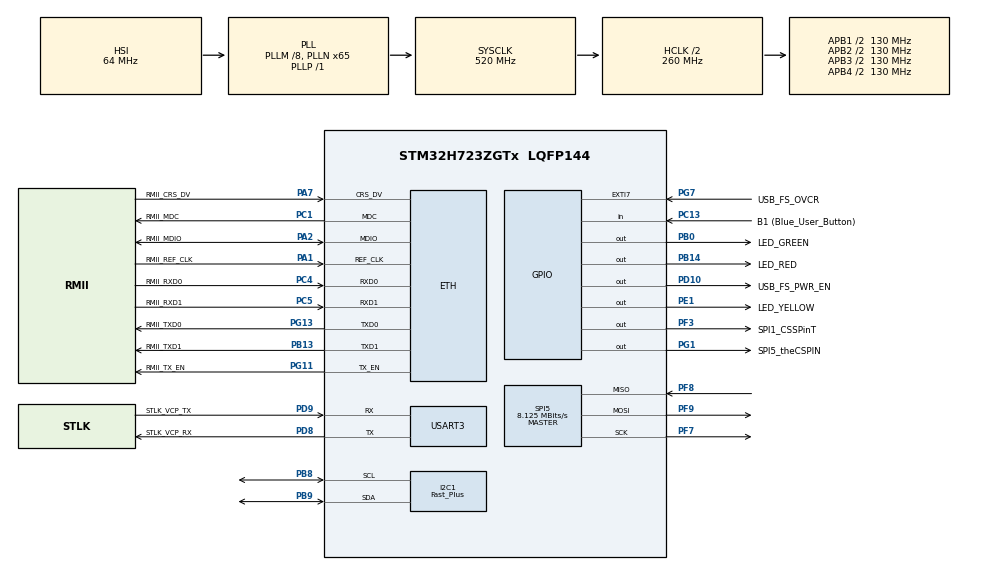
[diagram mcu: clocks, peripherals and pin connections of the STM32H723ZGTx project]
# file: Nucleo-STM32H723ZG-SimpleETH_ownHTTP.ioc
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PH0-OSC_IN.Signal=RCC_OSC_IN
NVIC.I2C1_EV_IRQn=true\:0\:0\:false\:false\:true\:true\:true
I2C1.I2C_Speed_Mode=I2C_Fast_Plus
Dma.I2C1_RX.0.SyncPolarity=HAL_DMAMUX_SYNC_NO_EVENT
Dma.I2C1_TX.1.Mode=DMA_NORMAL
PB14.GPIO_Label=LED_RED
NVIC.RTC_WKUP_IRQn=true\:0\:0\:false\:false\:true\:true\:true
LWIP.LWIP_HTTPD_SSI=1
RCC.PLLFRACN=0
SPI5.DataSize=SPI_DATASIZE_8BIT
PA13(JTMS/SWDIO).Signal=DEBUG_JTMS-SWDIO
Dma.I2C1_TX.1.Polarity=HAL_DMAMUX_REQ_GEN_RISING
VP_RTC_VS_RTC_Activate.Mode=RTC_Enabled
CORTEX_M7.AccessPermission-Cortex_Memory_Protection_Unit_Region2_Settings=MPU_REGION_FULL_ACCESS
LWIP.LWIP_HTTPD_MAX_TAG_INSERT_LEN=3000
PC5.Mode=RMII
PB13.Signal=ETH_TXD1
PG13.Signal=ETH_TXD0
RCC.SYSCLKSource=RCC_SYSCLKSOURCE_PLLCLK
LWIP.LWIP_HTTPD=1
USART3.VirtualMode-Asynchronous=VM_ASYNC
CORTEX_M7.Enable-Cortex_Memory_Protection_Unit_Region0_Settings=MPU_REGION_ENABLE
PF7.Signal=SPI5_SCK
Dma.I2C1_RX.0.PeriphDataAlignment=DMA_PDATAALIGN_BYTE
PD8.Signal=USART3_TX
PE1.Signal=GPIO_Output
PB3(JTDO/TRACESWO).GPIO_Label=SWO
Dma.I2C1_RX.0.SyncRequestNumber=1
Dma.I2C1_RX.0.Mode=DMA_NORMAL
RCC.DIVM2=1
RCC.DIVM1=8
LWIP.MEM_SIZE=16360
PC4.GPIO_Label=RMII_RXD0
PB3(JTDO/TRACESWO).Signal=DEBUG_JTDO-SWO
NVIC.TIM2_IRQn=true\:5\:0\:true\:false\:true\:true\:true
PF8.Mode=Full_Duplex_Master
Dma.I2C1_RX.0.Direction=DMA_PERIPH_TO_MEMORY
PF3.Signal=GPIO_Output
NVIC.I2C1_ER_IRQn=true\:0\:0\:false\:false\:true\:true\:true
Dma.I2C1_TX.1.SyncRequestNumber=1
Mcu.Package=LQFP144
PB9.Signal=I2C1_SDA
TIM2.Prescaler=520
RTC.WakeUpCounter-WakeUp=20000
PA10.Signal=USB_OTG_HS_ID
VP_RTC_VS_RTC_Calendar.Mode=RTC_Calendar
SPI5.CalculateBaudRate=8.125 MBits/s
RCC.APB4Freq_Value=130000000
CORTEX_M7.Enable-Cortex_Memory_Protection_Unit_Region1_Settings=MPU_REGION_ENABLE
PA13(JTMS/SWDIO).GPIO_Label=SWDIO
PB13.Mode=RMII
SPI5.VirtualType=VM_MASTER
CORTEX_M7.IsBufferable-Cortex_Memory_Protection_Unit_Region0_Settings=MPU_ACCESS_BUFFERABLE
PC4.Mode=RMII
Dma.I2C1_TX.1.PeriphDataAlignment=DMA_PDATAALIGN_BYTE
Dma.I2C1_TX.1.RequestNumber=1
Dma.I2C1_RX.0.PeriphInc=DMA_PINC_DISABLE
RCC.DIVQ1=4
LWIP0.BSP.i2caddr=0
PD9.GPIO_Label=STLK_VCP_TX
PC13.Signal=GPIO_Input
PA9.GPIO_Label=USB_FS_VBUS
CORTEX_M7.IsBufferable-Cortex_Memory_Protection_Unit_Region2_Settings=MPU_ACCESS_BUFFERABLE
RCC.DIVP1=1
PC14-OSC32_IN.Signal=RCC_OSC32_IN
PG13.GPIO_Label=RMII_TXD0
PD10.Signal=GPIO_Output
RTC.Year=21
PA9.Signal=USB_OTG_HS_VBUS
RCC.DIVN2=19
Dma.I2C1_RX.0.MemInc=DMA_MINC_ENABLE
I2C1.Timing=0x00601956
RCC.DIVN1=65
CORTEX_M7.BaseAddress-Cortex_Memory_Protection_Unit_Region0_Settings=0x30000000
PD8.Mode=Asynchronous
Dma.I2C1_TX.1.SyncPolarity=HAL_DMAMUX_SYNC_NO_EVENT
PB14.Signal=GPIO_Output
RCC.USBCLockSelection=RCC_USBCLKSOURCE_HSI48
PA5.Signal=SPI1_SCK
CORTEX_M7.Enable-Cortex_Memory_Protection_Unit_Region2_Settings=MPU_REGION_ENABLE
PE1.GPIO_Label=LED_YELLOW
Dma.I2C1_TX.1.Priority=DMA_PRIORITY_LOW
PA1.Mode=RMII
PG7.GPIO_Label=USB_FS_OVCR
Dma.I2C1_TX.1.MemInc=DMA_MINC_ENABLE
PA1.GPIO_Label=RMII_REF_CLK
CORTEX_M7.AccessPermission-Cortex_Memory_Protection_Unit_Region0_Settings=MPU_REGION_FULL_ACCESS
Dma.I2C1_TX.1.SignalID=NONE
TIM2.Period=1000
PA14(JTCK/SWCLK).Mode=Trace_Asynchronous_SW
ETH.MediaInterface=HAL_ETH_RMII_MODE
PB5.Signal=SPI1_MOSI
Dma.I2C1_TX.1.SyncSignalID=NONE
PG11.Mode=RMII
Dma.I2C1_TX.1.EventEnable=DISABLE
ProjectManager.HeapSize=0x200
LWIP.Version=v2.1.2_Cube
PF9.Signal=SPI5_MOSI
NVIC.PriorityGroup=NVIC_PRIORITYGROUP_4
PB8.Mode=I2C
TIM2.AutoReloadPreload=TIM_AUTORELOAD_PRELOAD_DISABLE
PA14(JTCK/SWCLK).Signal=DEBUG_JTCK-SWCLK
Dma.I2C1_RX.0.EventEnable=DISABLE
PB0.Signal=GPIO_Output
RTC.Date=7
PC1.Signal=ETH_MDC
PC1.Mode=RMII
ETH.TxDescAddress=0x30000060
Mcu.Family=STM32H7
LWIP0.BSP.STBoard=false
RCC.CortexFreq_Value=520000000
RCC.HPRE=RCC_HCLK_DIV2
PB0.GPIO_Label=LED_GREEN
PC13.GPIO_Label=B1 (Blue_User_Button)
PB13.GPIO_Label=RMII_TXD1
PD9.Mode=Asynchronous
PG11.Signal=ETH_TX_EN
ProjectManager.StackSize=0x400
Dma.I2C1_RX.0.SignalID=NONE
Dma.I2C1_TX.1.Direction=DMA_MEMORY_TO_PERIPH
PA13(JTMS/SWDIO).Mode=Trace_Asynchronous_SW
CORTEX_M7.IsShareable-Cortex_Memory_Protection_Unit_Region2_Settings=MPU_ACCESS_SHAREABLE
RCC.HCLKFreq_Value=260000000
Dma.I2C1_TX.1.PeriphInc=DMA_PINC_DISABLE
PH0-OSC_IN.Mode=HSE-External-Clock-Source
PH0-OSC_IN.GPIO_Label=MCO
NVIC.ETH_IRQn=true\:0\:0\:false\:false\:true\:true\:true
Dma.I2C1_RX.0.Priority=DMA_PRIORITY_LOW
LWIP.LWIP_RAM_HEAP_POINTER=0x30004000
RCC.HSE_VALUE=8000000
CORTEX_M7.Size-Cortex_Memory_Protection_Unit_Region2_Settings=MPU_REGION_SIZE_128KB
CORTEX_M7.IsCacheable-Cortex_Memory_Protection_Unit_Region2_Settings=MPU_ACCESS_CACHEABLE
CORTEX_M7.TypeExtField-Cortex_Memory_Protection_Unit_Region2_Settings=MPU_TEX_LEVEL2
PF9.Mode=Full_Duplex_Master
PC14-OSC32_IN.Mode=LSE-External-Oscillator
PA14(JTCK/SWCLK).GPIO_Label=SWCLK
PA10.GPIO_Label=USB_FS_ID
PG13.Mode=RMII
LWIP.LWIP_HTTPD_CGI=1
LWIP0.BSP.solution=LAN8742
RCC.APB3Freq_Value=130000000
LWIP0.BSP.component=LAN8742
SPI5.BaudRatePrescaler=SPI_BAUDRATEPRESCALER_16
RCC.D1PPRE=RCC_APB3_DIV2
CORTEX_M7.BaseAddress-Cortex_Memory_Protection_Unit_Region1_Settings=0x30004000
PB3(JTDO/TRACESWO).Mode=Trace_Asynchronous_SW
PA2.GPIO_Label=RMII_MDIO
PF8.Signal=SPI5_MISO
CORTEX_M7.Size-Cortex_Memory_Protection_Unit_Region1_Settings=MPU_REGION_SIZE_16KB
Dma.I2C1_RX.0.SyncSignalID=NONE
PB9.GPIO_Speed=GPIO_SPEED_FREQ_VERY_HIGH
ETH.RxBuffAddress=0x30000200
Dma.Request1=I2C1_TX
NVIC.DMA1_Stream0_IRQn=true\:0\:0\:false\:false\:true\:false\:true
PG11.GPIO_Label=RMII_TX_EN
PC5.Signal=ETH_RXD1
Dma.Request0=I2C1_RX
PF3.GPIO_Label=SPI1_CSSPinT
Dma.I2C1_TX.1.SyncEnable=DISABLE
CORTEX_M7.IsShareable-Cortex_Memory_Protection_Unit_Region1_Settings=MPU_ACCESS_SHAREABLE
PB9.GPIO_FM9=SYSCFG_PMCR_I2C_PB9_FMP
PC15-OSC32_OUT.Mode=LSE-External-Oscillator
CORTEX_M7.CPU_ICache=Enabled
Dma.I2C1_RX.0.MemDataAlignment=DMA_MDATAALIGN_BYTE
PG7.Signal=GPXTI7
PA7.Mode=RMII
PB8.GPIO_FM8=SYSCFG_PMCR_I2C_PB8_FMP
PG1.Signal=GPIO_Output
Dma.I2C1_RX.0.SyncEnable=DISABLE
PC4.Signal=ETH_RXD0
RCC.D2PPRE2=RCC_APB2_DIV2
RCC.D2PPRE1=RCC_APB1_DIV2
LWIP.LWIP_HTTPD_MAX_TAG_NAME_LEN=16
PD9.Signal=USART3_RX
NVIC.DMA1_Stream1_IRQn=true\:0\:0\:false\:false\:true\:false\:true
Dma.I2C1_RX.0.Polarity=HAL_DMAMUX_REQ_GEN_RISING
SPI5.Mode=SPI_MODE_MASTER
CORTEX_M7.BaseAddress-Cortex_Memory_Protection_Unit_Region2_Settings=0x24000000
VP_LWIP_VS_Enabled.Mode=Enabled
LWIP.LWIP_DNS=1
PD8.GPIO_Label=STLK_VCP_RX
PF7.Mode=Full_Duplex_Master
CORTEX_M7.MPU_Control=MPU_PRIVILEGED_DEFAULT
ProjectManager.TargetToolchain=STM32CubeIDE
CORTEX_M7.TypeExtField-Cortex_Memory_Protection_Unit_Region1_Settings=MPU_TEX_LEVEL1
LWIP.LWIP_SNTP=1
PB9.Mode=I2C
Dma.I2C1_TX.1.Instance=DMA1_Stream1
LWIP0.BSP.instance=LAN8742
RCC.USBFreq_Value=48000000
PD10.GPIO_Label=USB_FS_PWR_EN
LWIP0.BSP.api=BSP_COMPONENT_DRIVER
PC15-OSC32_OUT.Signal=RCC_OSC32_OUT
PA1.Signal=ETH_REF_CLK
board=NUCLEO-H723ZG
PG1.GPIO_Label=SPI5_theCSPIN
Dma.I2C1_RX.0.RequestNumber=1
Dma.I2C1_TX.1.FIFOMode=DMA_FIFOMODE_DISABLE
RCC.APB2Freq_Value=130000000
VP_TIM2_VS_ClockSourceINT.Mode=Internal
RCC.ADCFreq_Value=608000000
PC1.GPIO_Label=RMII_MDC
PH1-OSC_OUT.Signal=RCC_OSC_OUT
Dma.I2C1_TX.1.MemDataAlignment=DMA_MDATAALIGN_BYTE
Mcu.Name=STM32H723ZGTx
CORTEX_M7.Size-Cortex_Memory_Protection_Unit_Region0_Settings=MPU_REGION_SIZE_256B
PA2.Signal=ETH_MDIO
CORTEX_M7.AccessPermission-Cortex_Memory_Protection_Unit_Region1_Settings=MPU_REGION_FULL_ACCESS
RCC.SYSCLKFreq_VALUE=520000000
RTC.Hours=14
PA7.GPIO_Label=RMII_CRS_DV
LWIP.BSP.number=1
PC5.GPIO_Label=RMII_RXD1
Dma.I2C1_RX.0.FIFOMode=DMA_FIFOMODE_DISABLE
VP_RTC_VS_RTC_WakeUp_intern.Mode=WakeUp
PA2.Mode=RMII
PB8.Signal=I2C1_SCL
RCC.D3PPRE=RCC_APB4_DIV2
ETH.RxDescAddress=0x30000000
CORTEX_M7.CPU_DCache=Enabled
LWIP0.BSP.name=Driver_PHY
RCC.APB1Freq_Value=130000000
PB8.GPIO_Speed=GPIO_SPEED_FREQ_VERY_HIGH
Dma.I2C1_RX.0.Instance=DMA1_Stream0
SPI5.Direction=SPI_DIRECTION_2LINES
PA7.Signal=ETH_CRS_DV

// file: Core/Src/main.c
/* USER CODE BEGIN Header */
/**
  ******************************************************************************
  * @file           : main.c
  * @brief          : Main program body
  ******************************************************************************
  * @attention
  *
  * <h2><center>&copy; Copyright (c) 2021 STMicroelectronics.
  * All rights reserved.</center></h2>
  *
  * This software component is licensed by ST under BSD 3-Clause license,
  * the "License"; You may not use this file except in compliance with the
  * License. You may obtain a copy of the License at:
  *                        opensource.org/licenses/BSD-3-Clause
  *
  ******************************************************************************
  */
/* USER CODE END Header */
#include "main.h"
#include "dma.h"
#include "i2c.h"
#include "lwip.h"
#include "spi.h"
#include "tim.h"
#include "usart.h"
#include "gpio.h"

/* USER CODE BEGIN Includes */
#include <stdio.h>
#include <string.h>
#include "rtc.h"
#include "sntp_client.h"

#include "http_app.h"
#include "lwip/apps/httpd.h"

#include "rc522_app.h"
#include "OLED_SSD1306_Task.h"
/* USER CODE END Includes */

/* USER CODE BEGIN PM */
void HAL_TIM_PeriodElapsedCallback(TIM_HandleTypeDef *htim)
{
	if(htim->Instance==TIM2)
	{
		  MX_LWIP_Process ();   //I don't use it its only for LwIP stack driver!
	}
}
/* USER CODE END PM */

/* USER CODE BEGIN PV */

#define COUNT  5
static const char * const serverTbl[COUNT] = {
  "wikipedia.org",
  "nie.ma.takiego.serwera",
  "vega.cbk.poznan.pl",
  "tempus1.gum.gov.pl",
  "tempus2.gum.gov.pl"
};
static int status[COUNT] = {
  SNTP_NOT_RUNNING,
  SNTP_NOT_RUNNING,
  SNTP_NOT_RUNNING,
  SNTP_NOT_RUNNING,
  SNTP_NOT_RUNNING
};
/* USER CODE END PV */

void SystemClock_Config(void);
static void MPU_Config(void);

/* USER CODE BEGIN 0 */
void BackupDateToBR(void);

RTC_TimeTypeDef RtcTime;
RTC_DateTypeDef RtcDate;
uint16_t Milliseconds;

uint8_t CompareMilliseconds;
uint8_t CompareDate;

uint8_t Message[120];
uint8_t MessageLen;

void BackupDateToBR(void)
{
	HAL_RTCEx_BKUPWrite(&hrtc, RTC_BKP_DR2, ((RtcDate.Date << 8) | (RtcDate.Month)));
	HAL_RTCEx_BKUPWrite(&hrtc, RTC_BKP_DR3, ((RtcDate.Year << 8) | (RtcDate.WeekDay)));
}

void SetRTC(RTC_TimeTypeDef* sTime, 	RTC_DateTypeDef* DateToUpdate)
{

	if (HAL_RTC_SetTime(&hrtc, sTime, RTC_FORMAT_BIN) != HAL_OK)
	{
	  Error_Handler();
	}

	if (HAL_RTC_SetDate(&hrtc, DateToUpdate, RTC_FORMAT_BIN) != HAL_OK)
	{
	  Error_Handler();
	}

	BackupDateToBR();
}

void ClearStandbyFlags()
{

	  if (__HAL_PWR_GET_FLAG(PWR_FLAG_SB) != RESET)  //jesli wstal z stadby
	  {
		  __HAL_PWR_CLEAR_FLAG(PWR_FLAG_SB);
		  HAL_RTCEx_DeactivateWakeUpTimer(&hrtc);
			 __HAL_RTC_WAKEUPTIMER_CLEAR_FLAG(&hrtc, RTC_FLAG_WUTF);
	  }
	  	  else
	  	  	  {
		 MX_RTC_Init();
			}
}

void EnterStandbyByMe(uint16_t time)
{
	float t_helper=0;

	t_helper=time/0.0005;

	  if (HAL_RTCEx_SetWakeUpTimer_IT(&hrtc,(uint16_t)t_helper, RTC_WAKEUPCLOCK_RTCCLK_DIV16) != HAL_OK)
	  {
	    Error_Handler();
	  }
	  HAL_PWR_EnterSTANDBYMode();
}

/* USER CODE END 0 */

int main(void)
{

  /* MPU Configuration--------------------------------------------------------*/
  MPU_Config();

  /* Enable I-Cache---------------------------------------------------------*/
  SCB_EnableICache();

  /* Enable D-Cache---------------------------------------------------------*/
  SCB_EnableDCache();

  /* MCU Configuration--------------------------------------------------------*/

  /* Reset of all peripherals, Initializes the Flash interface and the Systick. */
  HAL_Init();

  /* Configure the system clock */
  SystemClock_Config();

  /* Initialize all configured peripherals */
  MX_GPIO_Init();
  MX_DMA_Init();
  MX_LWIP_Init();
  MX_USART3_UART_Init();
  MX_I2C1_Init();
  MX_TIM2_Init();
  MX_SPI5_Init();
  /* USER CODE BEGIN 2 */
  MX_RTC_Init();  // -< I modified this function so much...

  SCB_CleanInvalidateDCache();

 // ClearStandbyFlags();

  //DMA in STM32H7 series is rly strang :(
  //ref here: https://community.st.com/s/article/FAQ-DMA-is-not-working-on-STM32H7-devices

  OLED_Init();

  HAL_RTC_GetTime(&hrtc, &RtcTime, RTC_FORMAT_BIN);
  HAL_RTC_GetDate(&hrtc, &RtcDate, RTC_FORMAT_BIN);

  SNTPclientStart(serverTbl[3], &status[3]);
  httpd_init();
  // initializing CGI  [= CGI #7 =]
  myCGIinit();
  // initializing SSI [* SSI #6 *]
  mySSIinit();
  HAL_TIM_Base_Start_IT(&htim2);

  RC522_appSetup();

  uint32_t YellowLedTime=HAL_GetTick();
 uint32_t TimeActualization=HAL_GetTick();
 uint32_t zSNTPtimertime=HAL_GetTick();
  /* USER CODE END 2 */

  /* Infinite loop */
  /* USER CODE BEGIN WHILE */
  while (1)
  {
	  if(HAL_GetTick() - YellowLedTime > 1000) //HeardBit
	  {
		  YellowLedTime=HAL_GetTick();
		  HAL_GPIO_TogglePin(LED_YELLOW_GPIO_Port, LED_YELLOW_Pin);
		  //HAL_UART_Transmit(&huart3, (uint8_t*) "HeartBit\n\r", 10, 100);
	  }
	  if( HAL_GetTick() -zSNTPtimertime > 200)
	  {
		  zSNTPtimertime=HAL_GetTick();
		  SNTPtimer();
	  }
	  if(HAL_GetTick() - TimeActualization > 60000)
	  {
		  TimeActualization=HAL_GetTick();
		  SNTPclientStart(serverTbl[3], &status[3]);
	  }
	  OLED_Task();
	  RC522_appTask();
    /* USER CODE END WHILE */

  }
}

void SystemClock_Config(void)
{
  RCC_OscInitTypeDef RCC_OscInitStruct = {0};
  RCC_ClkInitTypeDef RCC_ClkInitStruct = {0};

  /** Supply configuration update enable
  */
  HAL_PWREx_ConfigSupply(PWR_LDO_SUPPLY);
  /** Configure the main internal regulator output voltage
  */
  __HAL_PWR_VOLTAGESCALING_CONFIG(PWR_REGULATOR_VOLTAGE_SCALE0);

  while(!__HAL_PWR_GET_FLAG(PWR_FLAG_VOSRDY)) {}
  /** Initializes the RCC Oscillators according to the specified parameters
  * in the RCC_OscInitTypeDef structure.
  */
  RCC_OscInitStruct.OscillatorType = RCC_OSCILLATORTYPE_HSI|RCC_OSCILLATORTYPE_LSI;
  RCC_OscInitStruct.HSIState = RCC_HSI_DIV1;
  RCC_OscInitStruct.HSICalibrationValue = RCC_HSICALIBRATION_DEFAULT;
  RCC_OscInitStruct.LSIState = RCC_LSI_ON;
  RCC_OscInitStruct.PLL.PLLState = RCC_PLL_ON;
  RCC_OscInitStruct.PLL.PLLSource = RCC_PLLSOURCE_HSI;
  RCC_OscInitStruct.PLL.PLLM = 8;
  RCC_OscInitStruct.PLL.PLLN = 65;
  RCC_OscInitStruct.PLL.PLLP = 1;
  RCC_OscInitStruct.PLL.PLLQ = 4;
  RCC_OscInitStruct.PLL.PLLR = 2;
  RCC_OscInitStruct.PLL.PLLRGE = RCC_PLL1VCIRANGE_3;
  RCC_OscInitStruct.PLL.PLLVCOSEL = RCC_PLL1VCOWIDE;
  RCC_OscInitStruct.PLL.PLLFRACN = 0;
  if (HAL_RCC_OscConfig(&RCC_OscInitStruct) != HAL_OK)
  {
    Error_Handler();
  }
  /** Initializes the CPU, AHB and APB buses clocks
  */
  RCC_ClkInitStruct.ClockType = RCC_CLOCKTYPE_HCLK|RCC_CLOCKTYPE_SYSCLK
                              |RCC_CLOCKTYPE_PCLK1|RCC_CLOCKTYPE_PCLK2
                              |RCC_CLOCKTYPE_D3PCLK1|RCC_CLOCKTYPE_D1PCLK1;
  RCC_ClkInitStruct.SYSCLKSource = RCC_SYSCLKSOURCE_PLLCLK;
  RCC_ClkInitStruct.SYSCLKDivider = RCC_SYSCLK_DIV1;
  RCC_ClkInitStruct.AHBCLKDivider = RCC_HCLK_DIV2;
  RCC_ClkInitStruct.APB3CLKDivider = RCC_APB3_DIV2;
  RCC_ClkInitStruct.APB1CLKDivider = RCC_APB1_DIV2;
  RCC_ClkInitStruct.APB2CLKDivider = RCC_APB2_DIV2;
  RCC_ClkInitStruct.APB4CLKDivider = RCC_APB4_DIV2;

  if (HAL_RCC_ClockConfig(&RCC_ClkInitStruct, FLASH_LATENCY_3) != HAL_OK)
  {
    Error_Handler();
  }
}

/* MPU Configuration */

void MPU_Config(void)
{
  MPU_Region_InitTypeDef MPU_InitStruct = {0};

  /* Disables the MPU */
  HAL_MPU_Disable();
  /** Initializes and configures the Region and the memory to be protected
  */
  MPU_InitStruct.Enable = MPU_REGION_ENABLE;
  MPU_InitStruct.Number = MPU_REGION_NUMBER0;
  MPU_InitStruct.BaseAddress = 0x30000000;
  MPU_InitStruct.Size = MPU_REGION_SIZE_256B;
  MPU_InitStruct.SubRegionDisable = 0x0;
  MPU_InitStruct.TypeExtField = MPU_TEX_LEVEL0;
  MPU_InitStruct.AccessPermission = MPU_REGION_FULL_ACCESS;
  MPU_InitStruct.DisableExec = MPU_INSTRUCTION_ACCESS_ENABLE;
  MPU_InitStruct.IsShareable = MPU_ACCESS_NOT_SHAREABLE;
  MPU_InitStruct.IsCacheable = MPU_ACCESS_NOT_CACHEABLE;
  MPU_InitStruct.IsBufferable = MPU_ACCESS_BUFFERABLE;

  HAL_MPU_ConfigRegion(&MPU_InitStruct);
  /** Initializes and configures the Region and the memory to be protected
  */
  MPU_InitStruct.Number = MPU_REGION_NUMBER1;
  MPU_InitStruct.BaseAddress = 0x30004000;
  MPU_InitStruct.Size = MPU_REGION_SIZE_16KB;
  MPU_InitStruct.TypeExtField = MPU_TEX_LEVEL1;
  MPU_InitStruct.IsShareable = MPU_ACCESS_SHAREABLE;
  MPU_InitStruct.IsBufferable = MPU_ACCESS_NOT_BUFFERABLE;

  HAL_MPU_ConfigRegion(&MPU_InitStruct);
  /** Initializes and configures the Region and the memory to be protected
  */
  MPU_InitStruct.Number = MPU_REGION_NUMBER2;
  MPU_InitStruct.BaseAddress = 0x24000000;
  MPU_InitStruct.Size = MPU_REGION_SIZE_128KB;
  MPU_InitStruct.TypeExtField = MPU_TEX_LEVEL2;
  MPU_InitStruct.IsCacheable = MPU_ACCESS_CACHEABLE;
  MPU_InitStruct.IsBufferable = MPU_ACCESS_BUFFERABLE;

  HAL_MPU_ConfigRegion(&MPU_InitStruct);
  /* Enables the MPU */
  HAL_MPU_Enable(MPU_PRIVILEGED_DEFAULT);

}

void Error_Handler(void)
{
  __disable_irq();
  while (1)
  {
  }
}

/************************ (C) COPYRIGHT STMicroelectronics *****END OF FILE****/
